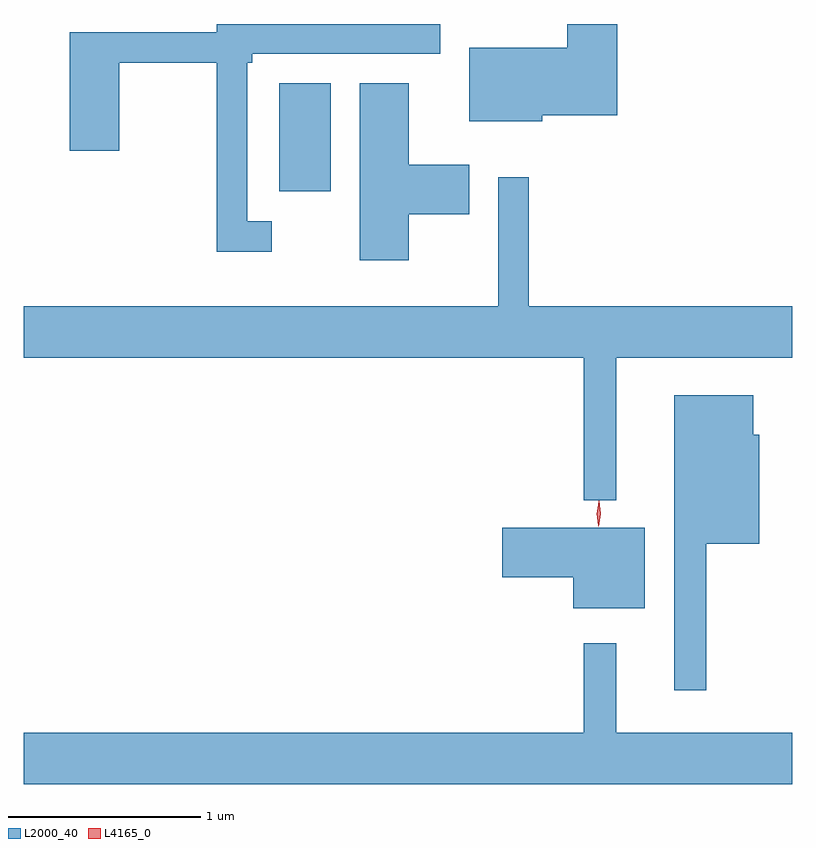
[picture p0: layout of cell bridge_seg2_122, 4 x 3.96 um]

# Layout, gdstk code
import gdstk
lib = gdstk.Library(unit=1e-6, precision=1e-09)
def R(c, l, rs):  # rectangles x0, y0, x1, y1
    for r in rs: c.add(gdstk.rectangle(r[:2], r[2:], *l))
def P(c, l, *ps):  # polygons
    for p in ps: c.add(gdstk.Polygon(p, *l))
L2000_40 = (2000, 40)
L4165_0 = (4165, 0)

bridge_seg2_122 = lib.new_cell('bridge_seg2_122')
R(bridge_seg2_122, L2000_40, [(982.996,1049.181,983.264,1049.744)])
P(bridge_seg2_122, L2000_40, [(984.364,1049.576),(984.754,1049.576),(984.754,1050.052),(984.496,1050.052),(984.496,1049.929),(983.986,1049.929),(983.986,1049.546),(984.364,1049.546)],
  [(982.958,1049.024),(982.829,1049.024),(982.829,1049.851),(982.854,1049.851),(982.854,1049.896),(983.834,1049.896),(983.834,1050.052),(982.671,1050.052),(982.671,1050.009),(981.906,1050.009),(981.906,1049.391),(982.164,1049.391),(982.164,1049.851),(982.671,1049.851),(982.671,1048.866),(982.958,1048.866)],
  [(983.669,1049.061),(983.984,1049.061),(983.984,1049.319),(983.669,1049.319),(983.669,1049.744),(983.416,1049.744),(983.416,1048.821),(983.669,1048.821)],
  [(984.749,1048.316),(985.666,1048.316),(985.666,1048.584),(984.294,1048.584),(984.294,1049.253),(984.136,1049.253),(984.136,1048.584),(981.666,1048.584),(981.666,1048.316),(984.581,1048.316),(984.581,1047.573),(984.749,1047.573)],
  [(985.219,1047.346),(985.494,1047.346),(985.494,1047.914),(985.464,1047.914),(985.464,1048.119),(985.051,1048.119),(985.051,1046.583),(985.219,1046.583)],
  [(984.899,1047.429),(984.156,1047.429),(984.156,1047.171),(984.526,1047.171),(984.526,1047.011),(984.899,1047.011)],
  [(985.666,1046.364),(984.749,1046.364),(984.749,1046.828),(984.581,1046.828),(984.581,1046.364),(981.666,1046.364),(981.666,1046.096),(985.666,1046.096)])
P(bridge_seg2_122, L4165_0, [(984.658,1047.44),(984.657,1047.441),(984.649,1047.504),(984.66,1047.566),(984.66,1047.567),(984.661,1047.566),(984.669,1047.503),(984.658,1047.441)],
  [(984.658,1047.434),(984.65,1047.502),(984.66,1047.57),(984.66,1047.57),(984.661,1047.57),(984.67,1047.502),(984.659,1047.434),(984.659,1047.434)])

lib.write_gds('bridge_seg2_122.gds')
